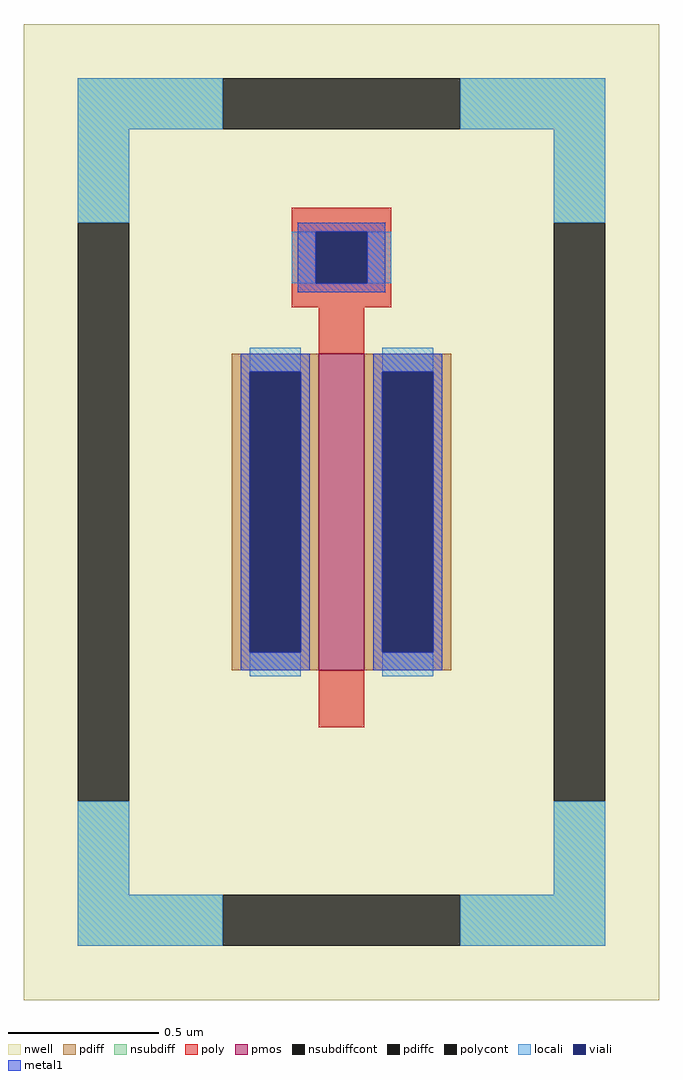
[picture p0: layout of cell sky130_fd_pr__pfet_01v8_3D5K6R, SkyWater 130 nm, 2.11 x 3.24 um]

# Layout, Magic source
magic
tech sky130A
magscale 1 2
<< nwell >>
rect -211 -324 211 324
<< pmos >>
rect -15 -105 15 105
<< pdiff >>
rect -73 93 -15 105
rect -73 -93 -61 93
rect -27 -93 -15 93
rect -73 -105 -15 -93
rect 15 93 73 105
rect 15 -93 27 93
rect 61 -93 73 93
rect 15 -105 73 -93
<< pdiffc >>
rect -61 -93 -27 93
rect 27 -93 61 93
<< nsubdiff >>
rect -175 254 -79 288
rect 79 254 175 288
rect -175 192 -141 254
rect 141 192 175 254
rect -175 -254 -141 -192
rect 141 -254 175 -192
rect -175 -288 -79 -254
rect 79 -288 175 -254
<< nsubdiffcont >>
rect -79 254 79 288
rect -175 -192 -141 192
rect 141 -192 175 192
rect -79 -288 79 -254
<< poly >>
rect -33 186 33 202
rect -33 152 -17 186
rect 17 152 33 186
rect -33 136 33 152
rect -15 105 15 136
rect -15 -143 15 -105
<< polycont >>
rect -17 152 17 186
<< locali >>
rect -175 254 -79 288
rect 79 254 175 288
rect -175 192 -141 254
rect 141 192 175 254
rect -33 152 -17 186
rect 17 152 33 186
rect -61 93 -27 109
rect -61 -109 -27 -93
rect 27 93 61 109
rect 27 -109 61 -93
rect -175 -254 -141 -192
rect 141 -254 175 -192
rect -175 -288 -79 -254
rect 79 -288 175 -254
<< viali >>
rect -17 152 17 186
rect -61 -93 -27 93
rect 27 -93 61 93
<< metal1 >>
rect -29 186 29 192
rect -29 152 -17 186
rect 17 152 29 186
rect -29 146 29 152
rect -67 93 -21 105
rect -67 -93 -61 93
rect -27 -93 -21 93
rect -67 -105 -21 -93
rect 21 93 67 105
rect 21 -93 27 93
rect 61 -93 67 93
rect 21 -105 67 -93
<< properties >>
string gencell sky130_fd_pr__pfet_01v8
string FIXED_BBOX -158 -271 158 271
string parameters w 1.05 l 0.15 m 1 nf 1 diffcov 100 polycov 100 guard 1 glc 1 grc 1 gtc 1 gbc 1 tbcov 100 rlcov 100 topc 1 botc 1 poverlap 0 doverlap 1 lmin 0.15 wmin 0.42 compatible {sky130_fd_pr__pfet_01v8  sky130_fd_pr__pfet_01v8_lvt sky130_fd_pr__pfet_01v8_hvt  sky130_fd_pr__pfet_g5v0d10v5} full_metal 1 viagl 0 viagr 0 viagt 0 viagb 0 viagate 100 viadrn 100 viasrc 100
string library sky130
<< end >>
